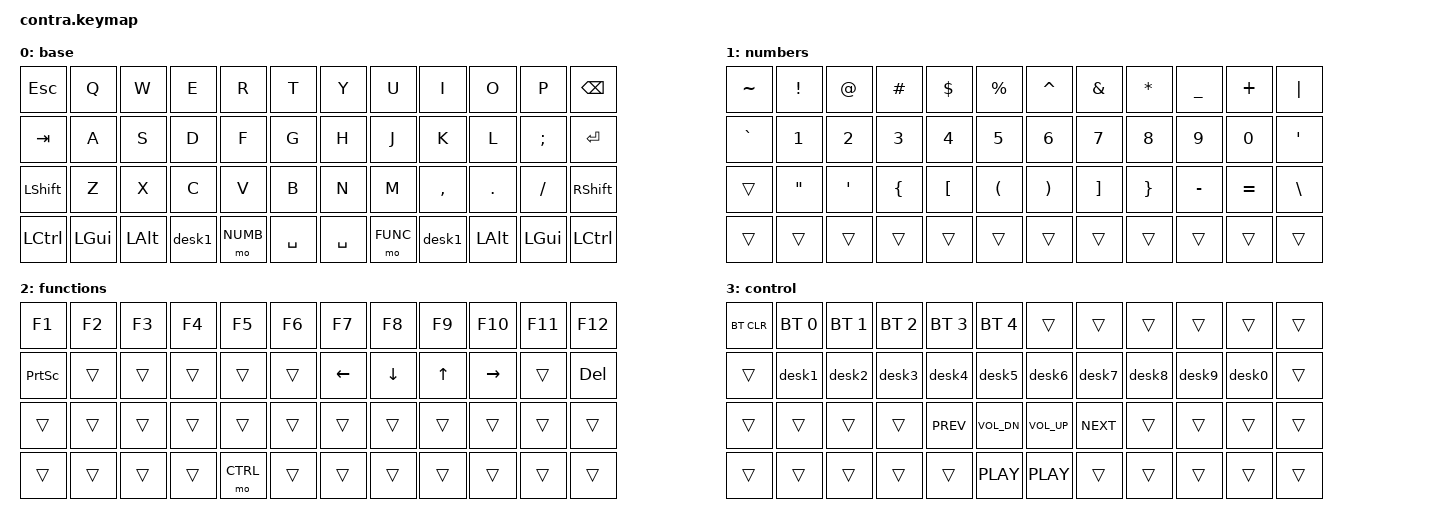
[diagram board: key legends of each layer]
/*
 * Copyright (c) 2021 The ZMK Contributors
 *
 * SPDX-License-Identifier: MIT
 */

#include <behaviors.dtsi>
#include <dt-bindings/zmk/keys.h>
#include <dt-bindings/zmk/bt.h>

#define DFLT  0
#define NUMB 1
#define FUNC  2
#define CTRL 3

/ {
    chosen {
        zmk,battery = &vbatt;
    };

    vbatt: vbatt {
        compatible = "zmk,battery-nrf-vddh";
        label = "VBATT";
    };

    keymap {
        compatible = "zmk,keymap";

        base {
            bindings = <
    &kp ESC    &kp Q      &kp W      &kp E      &kp R      &kp T      &kp Y      &kp U      &kp I      &kp O     &kp P     &kp BSPC
    &kp TAB    &kp A      &kp S      &kp D      &kp F      &kp G      &kp H      &kp J      &kp K      &kp L     &kp SEMI  &kp ENTER
    &kp LSHIFT &kp Z      &kp X      &kp C      &kp V      &kp B      &kp N      &kp M      &kp COMMA  &kp DOT   &kp FSLH  &kp RSHIFT
    &kp LCTRL  &kp LGUI   &kp LALT   &desk1     &mo NUMB   &kp SPACE  &kp SPACE  &mo FUNC   &desk1     &kp LALT  &kp LGUI  &kp LCTRL            >;
        };

        numbers {
            bindings = <
    &kp TILDE  &kp EXCL   &kp AT     &kp HASH   &kp DLLR   &kp PRCNT  &kp CARET  &kp AMPS   &kp STAR   &kp UNDER  &kp PLUS   &kp PIPE
    &kp GRAVE  &kp N1     &kp N2     &kp N3     &kp N4     &kp N5     &kp N6     &kp N7     &kp N8     &kp N9     &kp N0     &kp APOS
    &trans     &kp DQT    &kp APOS   &kp LBRC   &kp LBKT   &kp LPAR   &kp RPAR   &kp RBKT   &kp RBRC   &kp MINUS  &kp EQUAL  &kp BSLH
    &trans     &trans     &trans     &trans     &trans     &trans     &trans     &trans     &trans     &trans     &trans     &trans
            >;
        };

        functions {
            bindings = <
    &kp F1     &kp F2     &kp F3     &kp F4     &kp F5     &kp F6     &kp F7     &kp F8     &kp F9     &kp F10    &kp F11    &kp F12
    &kp PSCRN  &trans     &trans     &trans     &trans     &trans     &kp LEFT   &kp DOWN   &kp UP     &kp RIGHT  &trans     &kp DEL
    &trans     &trans     &trans     &trans     &trans     &trans     &trans     &trans     &trans     &trans     &trans     &trans
    &trans     &trans     &trans     &trans     &mo CTRL   &trans     &trans     &trans     &trans     &trans     &trans     &trans
            >;
        };

        control {
            bindings = <
    &bt BT_CLR   &bt BT_SEL 0 &bt BT_SEL 1 &bt BT_SEL 2 &bt BT_SEL 3 &bt BT_SEL 4 &trans       &trans       &trans       &trans       &trans       &trans
    &trans       &desk1       &desk2       &desk3       &desk4       &desk5       &desk6       &desk7       &desk8       &desk9       &desk0       &trans
    &trans       &trans       &trans       &trans       &kp C_PREV   &kp C_VOL_DN &kp C_VOL_UP &kp C_NEXT   &trans       &trans       &trans       &trans
    &trans       &trans       &trans       &trans       &trans       &kp C_PLAY   &kp C_PLAY   &trans       &trans       &trans       &trans       &trans
            >;
        };
    };

    macros {
        desk1: desk1 {
            label = "MACRO_desk1";
            compatible = "zmk,behavior-macro";
            #binding-cells = <0>;
            bindings = <&macro_press &kp LGUI>,<&macro_tap &kp N1>,<&macro_release &kp LGUI>;
        };
        desk2: desk2 {
            label = "MACRO_desk2";
            compatible = "zmk,behavior-macro";
            #binding-cells = <0>;
            bindings = <&macro_press &kp LGUI>,<&macro_tap &kp N2>,<&macro_release &kp LGUI>;
        };
        desk3: desk3 {
            label = "MACRO_desk3";
            compatible = "zmk,behavior-macro";
            #binding-cells = <0>;
            bindings = <&macro_press &kp LGUI>,<&macro_tap &kp N3>,<&macro_release &kp LGUI>;
        };
        desk4: desk4 {
            label = "MACRO_desk4";
            compatible = "zmk,behavior-macro";
            #binding-cells = <0>;
            bindings = <&macro_press &kp LGUI>,<&macro_tap &kp N4>,<&macro_release &kp LGUI>;
        };
        desk5: desk5 {
            label = "MACRO_desk5";
            compatible = "zmk,behavior-macro";
            #binding-cells = <0>;
            bindings = <&macro_press &kp LGUI>,<&macro_tap &kp N5>,<&macro_release &kp LGUI>;
        };
        desk6: desk6 {
            label = "MACRO_desk6";
            compatible = "zmk,behavior-macro";
            #binding-cells = <0>;
            bindings = <&macro_press &kp LGUI>,<&macro_tap &kp N6>,<&macro_release &kp LGUI>;
        };
        desk7: desk7 {
            label = "MACRO_desk7";
            compatible = "zmk,behavior-macro";
            #binding-cells = <0>;
            bindings = <&macro_press &kp LGUI>,<&macro_tap &kp N7>,<&macro_release &kp LGUI>;
        };
        desk8: desk8 {
            label = "MACRO_desk8";
            compatible = "zmk,behavior-macro";
            #binding-cells = <0>;
            bindings = <&macro_press &kp LGUI>,<&macro_tap &kp N8>,<&macro_release &kp LGUI>;
        };
        desk9: desk9 {
            label = "MACRO_desk9";
            compatible = "zmk,behavior-macro";
            #binding-cells = <0>;
            bindings = <&macro_press &kp LGUI>,<&macro_tap &kp N9>,<&macro_release &kp LGUI>;
        };
        desk0: desk0 {
            label = "MACRO_desk0";
            compatible = "zmk,behavior-macro";
            #binding-cells = <0>;
            bindings = <&macro_press &kp LGUI>,<&macro_tap &kp N0>,<&macro_release &kp LGUI>;
        };
    };
};
